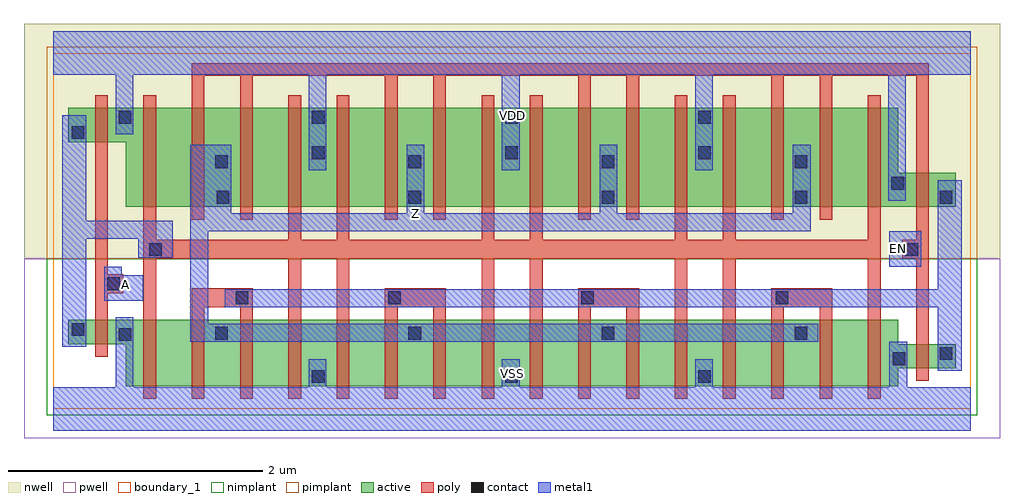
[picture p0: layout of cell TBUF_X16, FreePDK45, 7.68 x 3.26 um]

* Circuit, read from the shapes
.subckt TBUF_X16 A EN VDD VSS Z
M1 VSS A n1 VSUBS nfet w=0.19u l=0.1u
M2 n2 n1 VSS VSUBS nfet w=0.52u l=0.1u
M3 Z n3 n2 VSUBS nfet w=0.52u l=0.1u
M4 n4 n3 Z VSUBS nfet w=0.52u l=0.1u
M5 VSS n1 n4 VSUBS nfet w=0.52u l=0.1u
M6 n5 n1 VSS VSUBS nfet w=0.52u l=0.1u
M7 Z n3 n5 VSUBS nfet w=0.52u l=0.1u
M8 n6 n3 Z VSUBS nfet w=0.52u l=0.1u
M9 VSS n1 n6 VSUBS nfet w=0.52u l=0.1u
M10 n7 n1 VSS VSUBS nfet w=0.52u l=0.1u
M11 Z n3 n7 VSUBS nfet w=0.52u l=0.1u
M12 n8 n3 Z VSUBS nfet w=0.52u l=0.1u
M13 VSS n1 n8 VSUBS nfet w=0.52u l=0.1u
M14 n9 n1 VSS VSUBS nfet w=0.52u l=0.1u
M15 Z n3 n9 VSUBS nfet w=0.52u l=0.1u
M16 n10 n3 Z VSUBS nfet w=0.52u l=0.1u
M17 VSS n1 n10 VSUBS nfet w=0.52u l=0.1u
M18 n3 EN VSS VSUBS nfet w=0.19u l=0.1u
M19 VDD A n1 n11 pfet w=0.27u l=0.1u
M20 n12 n1 VDD n11 pfet w=0.78u l=0.1u
M21 Z EN n12 n11 pfet w=0.78u l=0.1u
M22 n13 EN Z n11 pfet w=0.78u l=0.1u
M23 VDD n1 n13 n11 pfet w=0.78u l=0.1u
M24 n14 n1 VDD n11 pfet w=0.78u l=0.1u
M25 Z EN n14 n11 pfet w=0.78u l=0.1u
M26 n15 EN Z n11 pfet w=0.78u l=0.1u
M27 VDD n1 n15 n11 pfet w=0.78u l=0.1u
M28 n16 n1 VDD n11 pfet w=0.78u l=0.1u
M29 Z EN n16 n11 pfet w=0.78u l=0.1u
M30 n17 EN Z n11 pfet w=0.78u l=0.1u
M31 VDD n1 n17 n11 pfet w=0.78u l=0.1u
M32 n18 n1 VDD n11 pfet w=0.78u l=0.1u
M33 Z EN n18 n11 pfet w=0.78u l=0.1u
M34 n19 EN Z n11 pfet w=0.78u l=0.1u
M35 VDD n1 n19 n11 pfet w=0.78u l=0.1u
M36 n3 EN VDD n11 pfet w=0.27u l=0.1u
.ends

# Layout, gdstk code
import gdstk
lib = gdstk.Library(unit=1e-6, precision=1e-09)
def R(c, l, rs):  # rectangles x0, y0, x1, y1
    for r in rs: c.add(gdstk.rectangle(r[:2], r[2:], *l))
def A(c, l, x, y, w, h, nx, ny, dx, dy):  # array of equal rectangles
    R(c, l, [(x+i*dx, y+j*dy, x+i*dx+w, y+j*dy+h) for i in range(nx) for j in range(ny)])
def P(c, l, *ps):  # polygons
    for p in ps: c.add(gdstk.Polygon(p, *l))
active = (1, 0)
pwell = (2, 0)
nwell = (3, 0)
nimplant = (4, 0)
pimplant = (5, 0)
poly = (9, 0)
contact = (10, 0)
metal1 = (11, 0)
boundary_1 = (235, 1)

tbuf_x16 = lib.new_cell('TBUF_X16')
P(tbuf_x16, active, [(0.12,2.1),(0.57,2.1),(0.57,1.59),(7.1,1.59),(7.1,1.86),(6.65,1.86),(6.65,2.37),(0.12,2.37)],
  [(0.12,0.51),(0.57,0.51),(0.57,0.18),(6.65,0.18),(6.65,0.32),(7.1,0.32),(7.1,0.51),(6.65,0.51),(6.65,0.7),(0.12,0.7)])
R(tbuf_x16, pwell, [(-0.23,-0.23,7.45,1.18)])
R(tbuf_x16, nwell, [(-0.23,1.18,7.45,3.03)])
R(tbuf_x16, nimplant, [(-0.05,-0.05,7.27,1.18)])
R(tbuf_x16, pimplant, [(-0.05,1.18,7.27,2.85)])
P(tbuf_x16, poly, [(1.09,1.49),(1.19,1.49),(1.19,2.62),(1.47,2.62),(1.47,1.49),(1.57,1.49),(1.57,2.62),(2.61,2.62),(2.61,1.49),(2.71,1.49),(2.71,2.62),(2.99,2.62),(2.99,1.49),(3.09,1.49),(3.09,2.62),(4.13,2.62),(4.13,1.49),(4.23,1.49),(4.23,2.62),(4.51,2.62),(4.51,1.49),(4.61,1.49),(4.61,2.62),(5.65,2.62),(5.65,1.49),(5.75,1.49),(5.75,2.62),(6.03,2.62),(6.03,1.49),(6.13,1.49),(6.13,2.62),(6.79,2.62),(6.79,1.33),(6.68,1.33),(6.68,1.18),(6.79,1.18),(6.79,0.22),(6.89,0.22),(6.89,2.72),(1.09,2.72)],
  [(0.71,0.08),(0.81,0.08),(0.81,1.18),(1.85,1.18),(1.85,0.08),(1.95,0.08),(1.95,1.18),(2.23,1.18),(2.23,0.08),(2.33,0.08),(2.33,1.18),(3.37,1.18),(3.37,0.08),(3.47,0.08),(3.47,1.18),(3.75,1.18),(3.75,0.08),(3.85,0.08),(3.85,1.18),(4.89,1.18),(4.89,0.08),(4.99,0.08),(4.99,1.18),(5.27,1.18),(5.27,0.08),(5.37,0.08),(5.37,1.18),(6.41,1.18),(6.41,0.08),(6.51,0.08),(6.51,2.47),(6.41,2.47),(6.41,1.33),(5.37,1.33),(5.37,2.47),(5.27,2.47),(5.27,1.33),(4.99,1.33),(4.99,2.47),(4.89,2.47),(4.89,1.33),(3.85,1.33),(3.85,2.47),(3.75,2.47),(3.75,1.33),(3.47,1.33),(3.47,2.47),(3.37,2.47),(3.37,1.33),(2.33,1.33),(2.33,2.47),(2.23,2.47),(2.23,1.33),(1.95,1.33),(1.95,2.47),(1.85,2.47),(1.85,1.33),(0.81,1.33),(0.81,2.47),(0.71,2.47)],
  [(5.65,0.08),(5.75,0.08),(5.75,0.8),(6.03,0.8),(6.03,0.08),(6.13,0.08),(6.13,0.95),(5.65,0.95)],
  [(4.13,0.08),(4.23,0.08),(4.23,0.8),(4.51,0.8),(4.51,0.08),(4.61,0.08),(4.61,0.95),(4.13,0.95)],
  [(2.61,0.08),(2.71,0.08),(2.71,0.8),(2.99,0.8),(2.99,0.08),(3.09,0.08),(3.09,0.95),(2.61,0.95)],
  [(1.09,0.08),(1.19,0.08),(1.19,0.8),(1.47,0.8),(1.47,0.08),(1.57,0.08),(1.57,0.95),(1.09,0.95)],
  [(0.33,0.41),(0.43,0.41),(0.43,0.91),(0.55,0.91),(0.55,1.06),(0.43,1.06),(0.43,2.47),(0.33,2.47)])
A(tbuf_x16, contact, 2.035, 0.205, 0.1, 0.1, 3, 2, 1.52, 1.76)
A(tbuf_x16, contact, 1.275, 0.545, 0.1, 0.1, 4, 2, 1.52, 1.35)
A(tbuf_x16, contact, 2.795, 1.615, 0.1, 0.1, 3, 1, 1.52, 0)
A(tbuf_x16, contact, 0.515, 2.245, 0.1, 0.1, 4, 1, 1.52, 0)
R(tbuf_x16, contact, [(6.605,0.345,6.705,0.445), (6.975,0.385,7.075,0.485), (0.515,0.535,0.615,0.635), (0.145,0.575,0.245,0.675), (1.435,0.825,1.535,0.925), (2.635,0.825,2.735,0.925), (4.155,0.825,4.255,0.925), (5.685,0.825,5.785,0.925), (0.425,0.935,0.525,1.035), (0.755,1.205,0.855,1.305), (6.705,1.205,6.805,1.305), (1.285,1.615,1.385,1.715), (6.975,1.615,7.075,1.715), (6.595,1.725,6.695,1.825), (0.145,2.125,0.245,2.225)])
R(tbuf_x16, metal1, [(6.58,1.12,6.83,1.4), (6.58,1.12,6.83,1.4)])
P(tbuf_x16, metal1, [(0,-0.17),(7.22,-0.17),(7.22,0.17),(6.72,0.17),(6.72,0.53),(6.58,0.53),(6.58,0.17),(5.19,0.17),(5.19,0.39),(5.05,0.39),(5.05,0.17),(3.67,0.17),(3.67,0.39),(3.53,0.39),(3.53,0.17),(2.15,0.17),(2.15,0.39),(2.01,0.39),(2.01,0.17),(0.63,0.17),(0.63,0.72),(0.49,0.72),(0.49,0.17),(0,0.17)],
  [(0,2.63),(0.49,2.63),(0.49,2.16),(0.63,2.16),(0.63,2.63),(2.01,2.63),(2.01,1.88),(2.15,1.88),(2.15,2.63),(3.53,2.63),(3.53,1.88),(3.67,1.88),(3.67,2.63),(5.05,2.63),(5.05,1.88),(5.19,1.88),(5.19,2.63),(6.57,2.63),(6.57,1.64),(6.71,1.64),(6.71,2.63),(7.22,2.63),(7.22,2.97),(0,2.97)],
  [(0.4,0.85),(0.71,0.85),(0.71,1.05),(0.54,1.05),(0.54,1.12),(0.4,1.12)],
  [(1.08,0.53),(6.02,0.53),(6.02,0.67),(1.22,0.67),(1.22,1.4),(5.96,1.4),(5.96,2.08),(5.82,2.08),(5.82,1.54),(4.44,1.54),(4.44,2.08),(4.3,2.08),(4.3,1.54),(2.92,1.54),(2.92,2.08),(2.78,2.08),(2.78,1.54),(1.4,1.54),(1.4,2.08),(1.08,2.08)],
  [(0,2.63),(0.49,2.63),(0.49,2.16),(0.63,2.16),(0.63,2.63),(2.01,2.63),(2.01,1.88),(2.15,1.88),(2.15,2.63),(3.53,2.63),(3.53,1.88),(3.67,1.88),(3.67,2.63),(5.05,2.63),(5.05,1.88),(5.19,1.88),(5.19,2.63),(6.57,2.63),(6.57,1.64),(6.71,1.64),(6.71,2.63),(7.22,2.63),(7.22,2.97),(0,2.97)],
  [(0,-0.17),(7.22,-0.17),(7.22,0.17),(6.72,0.17),(6.72,0.53),(6.58,0.53),(6.58,0.17),(5.19,0.17),(5.19,0.39),(5.05,0.39),(5.05,0.17),(3.67,0.17),(3.67,0.39),(3.53,0.39),(3.53,0.17),(2.15,0.17),(2.15,0.39),(2.01,0.39),(2.01,0.17),(0.63,0.17),(0.63,0.72),(0.49,0.72),(0.49,0.17),(0,0.17)],
  [(1.35,0.8),(6.96,0.8),(6.96,0.3),(7.15,0.3),(7.15,1.8),(6.96,1.8),(6.96,0.94),(1.35,0.94)],
  [(1.08,0.53),(6.02,0.53),(6.02,0.67),(1.22,0.67),(1.22,1.4),(5.96,1.4),(5.96,2.08),(5.82,2.08),(5.82,1.54),(4.44,1.54),(4.44,2.08),(4.3,2.08),(4.3,1.54),(2.92,1.54),(2.92,2.08),(2.78,2.08),(2.78,1.54),(1.4,1.54),(1.4,2.08),(1.08,2.08)],
  [(0.07,0.49),(0.26,0.49),(0.26,1.34),(0.67,1.34),(0.67,1.19),(0.94,1.19),(0.94,1.48),(0.26,1.48),(0.26,2.31),(0.07,2.31)],
  [(0.4,0.85),(0.71,0.85),(0.71,1.05),(0.54,1.05),(0.54,1.12),(0.4,1.12)])
R(tbuf_x16, boundary_1, [(0,0,7.22,2.8)])
tbuf_x16.add(gdstk.Label('Z', (2.85,1.54), layer=11, texttype=0))
tbuf_x16.add(gdstk.Label('VSS', (3.61,0.275), layer=11, texttype=0))
tbuf_x16.add(gdstk.Label('VDD', (3.61,2.305), layer=11, texttype=0))
tbuf_x16.add(gdstk.Label('EN', (6.65,1.26), layer=11, texttype=0))
tbuf_x16.add(gdstk.Label('A', (0.57,0.98), layer=11, texttype=0))

lib.write_gds('TBUF_X16.gds')
